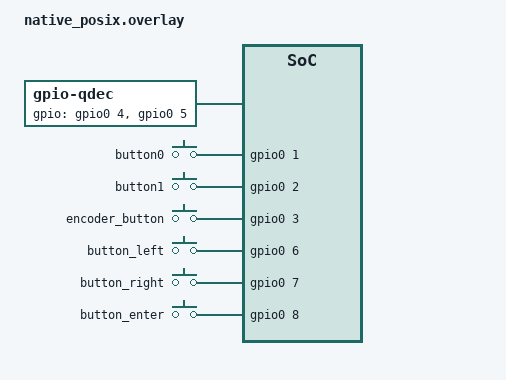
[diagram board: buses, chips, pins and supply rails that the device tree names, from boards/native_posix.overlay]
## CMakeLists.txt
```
cmake_minimum_required(VERSION 3.13.1)

set(ZEPHYR_EXTRA_MODULES /home/user/C4.3_firmware/C4.3_workspace/modules/veethree_sim "${CMAKE_SOURCE_DIR}/../../modules/bsp" "${CMAKE_SOURCE_DIR}/../../modules/nafe")


find_package(Zephyr REQUIRED HINTS $ENV{ZEPHYR_BASE})

project(app LANGUAGES C)

# SPDX-License-Identifier: Apache-2.0

cmake_minimum_required(VERSION 3.20.0)

project(uart_echo_bot)

set(MCUX_SDK_PROJECT_NAME app)

target_sources(app PRIVATE 
    src/main.c

    generated/events_init.c 
    generated/gui_guider.c 
    generated/setup_scr_screen.c 
    generated/widgets_init.c 
   
    generated/guider_fonts/lv_font_montserratMedium_10.c 
    generated/guider_fonts/lv_font_montserratMedium_16.c 
    generated/guider_fonts/lv_font_montserratMedium_25.c 
    generated/guider_fonts/lv_font_montserratMedium_22.c 
    generated/guider_fonts/lv_font_montserratMedium_50.c
    generated/images/_BACKGROUND_720x1280.c
)



target_include_directories(app PUBLIC 
    src    
    include
    generated
    generated/guider_customer_fonts   
    fatfs/source
    fatfs/source/fsl_usb_disk
)


target_compile_definitions(app PRIVATE LV_USE_GPU_NXP_VG_LITE)
target_compile_definitions(app PRIVATE SDK_OS_FREE_RTOS)
target_compile_definitions(app PRIVATE LV_LVGL_H_INCLUDE_SIMPLE)
```

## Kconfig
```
#
# Copyright (c) 2020 Linumiz
#
# SPDX-License-Identifier: Apache-2.0
#
mainmenu "Veethree sample configuration"

choice
	prompt "Hawkbit mode"
	default VE_SIM

config VE_SIM
	bool "VE_SIM"
	help
	  no help.

endchoice

source "Kconfig.zephyr"
```

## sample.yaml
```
sample:
  description: LVGL sample application
  name: lvgl
tests:
  sample.display.lvgl.gui:
    filter: dt_chosen_enabled("zephyr,display")
    # flash usage varies depending on the platform, but ~200K are the bare
    # minimum, give some room by adding 50K more. RAM usage depends largerly on
    # the display buffer, but a minimum is also required for the system itself.
    # ~25K seem to be sufficient for most cases, rounded to 32K.
    min_flash: 250
    min_ram: 32
    harness: none
    tags:
      - samples
      - display
      - gui
      - lvgl
    modules:
      - lvgl
    integration_platforms:
      - native_sim_64
  sample.display.lvgl.rk055hdmipi4m:
    # This sample is intended to test the RT1170 and RT595, which require
    # a display shield to work with LVGL
    min_flash: 250
    # The minimum RAM needed for this display is actually around 8MB,
    # but the RT595 uses external PSRAM for the display buffer
    min_ram: 32
    harness: none
    tags:
      - samples
      - display
      - gui
    modules:
      - lvgl
      - veethree_sim
    extra_args: SHIELD="rk055hdmipi4m"
    platform_allow:
      - mimxrt1170_evk/mimxrt1176/cm7
      - mimxrt595_evk/mimxrt595s/cm33
    integration_platforms:
      - mimxrt1170_evk/mimxrt1176/cm7
  sample.subsys.display.lvgl.st_b_lcd40_dsi1_mb1166:
    platform_allow: stm32h747i_disco/stm32h747xx/m7
    extra_args: SHIELD=st_b_lcd40_dsi1_mb1166
    harness: console
    harness_config:
      fixture: fixture_display
    modules:
      - lvgl
    tags:
      - samples
      - display
      - shield
      - lvgl
      - gui
```

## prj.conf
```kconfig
# Copyright (c) 2021 Nordic Semiconductor ASA
# SPDX-License-Identifier: Apache-2.0
#
# This file contains selected Kconfig options for the application.

# ========= CONSOLE ========= #

# console
CONFIG_SERIAL=y
CONFIG_UART_CONSOLE=y
CONFIG_SHELL=y
# logging
CONFIG_LOG=y
CONFIG_LOG_BUFFER_SIZE=4096
CONFIG_UART_INTERRUPT_DRIVEN=n

# ======= MEMORY ALLOC ======= #

CONFIG_MAIN_STACK_SIZE=8096
CONFIG_HEAP_MEM_POOL_SIZE=151072

# ========= ZEPHYR SYS ========= #
CONFIG_ASSERT=y
CONFIG_EVENTS=y
CONFIG_NOCACHE_MEMORY=y
CONFIG_DMA_MCUX_USE_DTCM_FOR_DMA_DESCRIPTORS=y

CONFIG_REBOOT=y

CONFIG_I2C=y
CONFIG_GPIO=y
CONFIG_DMA=y

CONFIG_DISPLAY=y

CONFIG_DYNAMIC_INTERRUPTS=y


#======= LVGL =======#
# display
CONFIG_LVGL_VEETHREE=y

CONFIG_LV_USE_LOG=y
CONFIG_LV_Z_MEM_POOL_SIZE=49152 
CONFIG_LV_Z_FLUSH_THREAD=n
CONFIG_LV_Z_FLUSH_THREAD_STACK_SIZE=8048
# FrameBuffer conf
CONFIG_LV_Z_DOUBLE_VDB=y
CONFIG_LV_Z_VDB_SIZE=50
CONFIG_LV_Z_BITS_PER_PIXEL=16
CONFIG_LV_Z_VDB_ALIGN=32
# GPU
CONFIG_VG_LITE_VEETHREE=y

CONFIG_LV_ATTRIBUTE_FAST_MEM_USE_IRAM=y
CONFIG_LV_Z_FULL_REFRESH=y
CONFIG_LV_USE_MEM_MONITOR=y 
CONFIG_LV_Z_SHELL=y
CONFIG_LV_MEM_CUSTOM=y
CONFIG_LV_USE_PERF_MONITOR=y
CONFIG_LV_USE_BTN=y
CONFIG_LV_USE_ARC=y
CONFIG_LV_USE_IMG=y
CONFIG_LV_USE_LABEL=y
CONFIG_LV_USE_DEMO_BENCHMARK=n
CONFIG_LV_USE_DEMO_WIDGETS=n
CONFIG_LV_USE_DEMO_MUSIC=n
CONFIG_LV_Z_POINTER_INPUT=n
CONFIG_LV_FONT_MONTSERRAT_12=y
CONFIG_LV_FONT_MONTSERRAT_14=y
CONFIG_LV_FONT_MONTSERRAT_16=y
# Benchmark Demo
CONFIG_LV_USE_FONT_COMPRESSED=y
CONFIG_LV_DISP_DEF_REFR_PERIOD=10
CONFIG_LV_INDEV_DEF_READ_PERIOD=10
```

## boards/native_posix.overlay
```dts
/*
 * Copyright (c) 2022, Basalte bv
 *
 * SPDX-License-Identifier: Apache-2.0
 */

#include <zephyr/dt-bindings/input/input-event-codes.h>
#include <zephyr/dt-bindings/lvgl/lvgl.h>

/ {
	aliases {
		sw0 = &button0;
	};

	qdec {
		compatible = "gpio-qdec";
		gpios = <&gpio0 4 GPIO_ACTIVE_HIGH>, <&gpio0 5 GPIO_ACTIVE_HIGH>;
		steps-per-period = <4>;
		zephyr,axis = <INPUT_REL_WHEEL>;
		sample-time-us = <2000>;
		idle-timeout-ms = <200>;
	};

	
	

	keys: keys {
		compatible = "gpio-keys";
		button0: button0 {
			/* gpio0 pin 0 is already aliased to led0 */
			gpios = <&gpio0 1 GPIO_ACTIVE_HIGH>;
			zephyr,code = <INPUT_KEY_R>;
		};

		button1: button1 {
			gpios = <&gpio0 2 GPIO_ACTIVE_HIGH>;
			zephyr,code = <INPUT_KEY_B>;
		};

		encoder_button: encoder_button {
			gpios = <&gpio0 3 GPIO_ACTIVE_HIGH>;
			zephyr,code = <INPUT_KEY_0>;
		};

		button_left: button_left {
			gpios = <&gpio0 6 GPIO_ACTIVE_HIGH>;
			zephyr,code = <INPUT_KEY_LEFT>;
		};

		button_right: button_right {
			gpios = <&gpio0 7 GPIO_ACTIVE_HIGH>;
			zephyr,code = <INPUT_KEY_RIGHT>;
		};

		button_enter: button_enter {
			gpios = <&gpio0 8 GPIO_ACTIVE_HIGH>;
			zephyr,code = <INPUT_KEY_ENTER>;
		};
	};

	lvgl_button_input {
		compatible = "zephyr,lvgl-button-input";
		input = <&keys>;
		input-codes = <INPUT_KEY_B>;
		coordinates = <160 120>;
	};

	lvgl_encoder_input {
		compatible = "zephyr,lvgl-encoder-input";
		rotation-input-code = <INPUT_REL_WHEEL>;
		button-input-code = <INPUT_KEY_0>;
	};

	lvgl_keypad_input {
		compatible = "zephyr,lvgl-keypad-input";
		input = <&keys>;
		input-codes = <INPUT_KEY_LEFT INPUT_KEY_RIGHT INPUT_KEY_ENTER>;
		lvgl-codes = <LV_KEY_LEFT LV_KEY_RIGHT LV_KEY_ENTER>;
	};
};

&gpio0 {
	ngpios = <9>;

	sdl_gpio {
		status = "okay";
		compatible = "zephyr,gpio-emul-sdl";
		/* Skip pin 0 with the unknown code 0 */
		scancodes = <0 21 5 30 31 32 80 79 40>;
	};
};
```

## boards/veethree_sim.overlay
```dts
/*
 * Copyright (c) 2022, Basalte bv
 *
 * SPDX-License-Identifier: Apache-2.0
 */

#include "native_sim.overlay"

sdl_dc: sdl_dc{
	compatible = "zephyr,sdl-dc";
	height = <240>;
	width = <320>;
	
};	
```

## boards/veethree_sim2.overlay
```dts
/*
 * Copyright (c) 2022, Basalte bv
 *
 * SPDX-License-Identifier: Apache-2.0
 */

#include "native_sim.overlay"

sdl_dc {
		compatible = "zephyr,sdl-dc";
		/*
		 * height = <240>;
		 * width = <320>;
		 */
		height = <240>;
		width = <320>;
	};	
```

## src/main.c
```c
/*
 * Copyright (c) 2016 Intel Corporation
 *
 * SPDX-License-Identifier: Apache-2.0
 */
// flash includes...

#include <stdio.h>

#include <lvgl.h>
#include <zephyr/kernel.h>
#include <zephyr/device.h>
#include <zephyr/devicetree.h>
#include <zephyr/drivers/gpio.h>
#include <zephyr/usb/usbd.h>
#include <zephyr/usb/usbh.h>
#include <zephyr/drivers/display.h>
#include <zephyr/irq.h>

#include "fsl_device_registers.h"
#include "fsl_common.h"

#include "../generated/gui_guider.h"
#include "../generated/events_init.h"


#ifdef CONFIG_VG_LITE_VEETHREE
#include "/workdir/projects/external_modules/vg_lite_veethree/include/lvgl_support.h"
#endif
#include "/workdir/modules/hal/nxp/mcux/mcux-sdk/devices/MIMXRT1166/MIMXRT1166_cm7_features.h"

#define VERSION_NUM 45

#define LOG_LEVEL CONFIG_LOG_DEFAULT_LEVEL

#include <zephyr/logging/log.h>
LOG_MODULE_REGISTER(app);

#define SW0_NODE DT_ALIAS(sw0)
static const struct gpio_dt_spec button = GPIO_DT_SPEC_GET_OR(SW0_NODE, gpios,
                                                              {0});

#define SEM_COUNT_INITAL 0
#define SEM_COUNT_MAX 1


/* change this to any other UART peripheral if desired */
#define UART_DEVICE_NODE DT_CHOSEN(zephyr_shell_uart)

static const struct device *const uart_dev = DEVICE_DT_GET(UART_DEVICE_NODE);

lv_anim_t a;
lv_ui Guider_ui;

static void anim_x_cb(void *var, int32_t v);
void lv_example_anim_2(void);
static void anim_size_cb(void *var, int32_t v);


int main(void)
{
    char buffer[100];
    uint64_t start_time, end_time = 0;
    uint32_t fps = 0;
    
   
    setup_ui(&Guider_ui);
    events_init(&Guider_ui);
    lv_example_anim_2();

    uint8_t i = 0;
    start_time = k_uptime_get();
    while (1)
    {        
        lv_task_handler();   
       
        fps++;
        end_time = k_uptime_get();
        if ((end_time - start_time) >= 1000)
        {            
            fps = 0;
            start_time = k_uptime_get();
        }        
       
        k_msleep(20);
    }

    return 0;
}

static void anim_x_cb(void *var, int32_t v)
{
    lv_obj_set_x(var, v);
}

static void anim_size_cb(void *var, int32_t v)
{
    lv_bar_set_value(Guider_ui.screen_bar_1, v, LV_ANIM_OFF);
    lv_bar_set_value(Guider_ui.screen_bar_2, v, LV_ANIM_OFF);
    lv_bar_set_value(Guider_ui.screen_bar_3, v, LV_ANIM_OFF);
    lv_bar_set_value(Guider_ui.screen_bar_4, v, LV_ANIM_OFF);

    lv_arc_set_value(Guider_ui.screen_right_btm_arc, v);
    lv_arc_set_value(Guider_ui.screen_left_top_arc, v);
    lv_arc_set_value(Guider_ui.screen_right_top_arc, v);
    lv_arc_set_value(Guider_ui.screen_left_btm_arc, v);

    lv_meter_set_indicator_value(Guider_ui.screen_meter_1, Guider_ui.screen_meter_1_scale_0_ndline_0, (v * 50));
}

/**
 * Create a playback animation
 */
void lv_example_anim_2(void)
{
    lv_anim_init(&a);
    lv_anim_set_var(&a, &Guider_ui);
    lv_anim_set_values(&a, 0, 1000);
    lv_anim_set_time(&a, 2000);
    lv_anim_set_playback_delay(&a, 100);
    lv_anim_set_playback_time(&a, 800);
    lv_anim_set_repeat_delay(&a, 900);
    lv_anim_set_repeat_count(&a, LV_ANIM_REPEAT_INFINITE);
    lv_anim_set_path_cb(&a, lv_anim_path_ease_in_out);

    lv_anim_set_exec_cb(&a, anim_size_cb);
    lv_anim_start(&a);
   
}
```

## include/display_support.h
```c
// /*
//  * Copyright 2019-2021, 2023 NXP
//  * All rights reserved.
//  *
//  * SPDX-License-Identifier: BSD-3-Clause
//  */

// #ifndef _DISPLAY_SUPPORT_H_
// #define _DISPLAY_SUPPORT_H_

// #include "fsl_dc_fb.h"

// // #include "display_support.h"
// #include "fsl_gpio.h"
// #include "fsl_mipi_dsi.h"

// #include "../video/fsl_hx8394.h"

// #include "pin_mux.h"
// #include "board.h"
// #include "fsl_debug_console.h"

// #if (DEMO_DISPLAY_CONTROLLER == DEMO_DISPLAY_CONTROLLER_LCDIFV2)
// #include "../video/fsl_dc_fb_lcdifv2.h"
// #else
// #include "fsl_dc_fb_elcdif.h"
// #endif

// /*******************************************************************************
//  * Definitions
//  ******************************************************************************/

// /* @TEST_ANCHOR */
// #define DEMO_LCDIF LCDIFV2

// #define DEMO_PANEL_WIDTH  (720)    //(720)
// #define DEMO_PANEL_HEIGHT (1280)     //(1280)

// #define DEMO_HSW 6
// #define DEMO_HFP 12
// #define DEMO_HBP 24
// #define DEMO_VSW 2
// #define DEMO_VFP 16
// #define DEMO_VBP 14

// #define DEMO_PANEL_RK055AHD091 0 /* 720 * 1280, RK055AHD091-CTG(RK055HDMIPI4M) */
// #define DEMO_PANEL_RK055IQH091 1 /* 540 * 960,  RK055IQH091-CTG */
// #define DEMO_PANEL_RK055MHD091 2 /* 720 * 1280, RK055MHD091A0-CTG(RK055HDMIPI4MA0) */

// #define DEMO_DISPLAY_CONTROLLER_ELCDIF  0
// #define DEMO_DISPLAY_CONTROLLER_LCDIFV2 1

// #ifndef DEMO_PANEL
// #define DEMO_PANEL DEMO_PANEL_RK055MHD091
// #endif

// #ifndef DEMO_DISPLAY_CONTROLLER
// /* Use LCDIFV2 by default, could use ELCDIF by changing this macro. */
// #define DEMO_DISPLAY_CONTROLLER DEMO_DISPLAY_CONTROLLER_LCDIFV2
// #endif

// #define DEMO_BUFFER_FIXED_ADDRESS 0

// #if DEMO_BUFFER_FIXED_ADDRESS
// #define DEMO_BUFFER0_ADDR 0x80000000
// #define DEMO_BUFFER1_ADDR 0x80200000
// #endif

// #define DEMO_LCDIF_POL_FLAGS                                                             \
//     (kLCDIFV2_DataEnableActiveHigh | kLCDIFV2_VsyncActiveLow | kLCDIFV2_HsyncActiveLow | \
//      kLCDIFV2_DriveDataOnFallingClkEdge)

// static dc_fb_lcdifv2_handle_t s_dcFbLcdifv2Handle = {0};

// static const dc_fb_lcdifv2_config_t s_dcFbLcdifv2Config = {
//     .lcdifv2       = DEMO_LCDIF,
//     .width         = DEMO_PANEL_WIDTH,
//     .height        = DEMO_PANEL_HEIGHT,
//     .hsw           = DEMO_HSW,
//     .hfp           = DEMO_HFP,
//     .hbp           = DEMO_HBP,
//     .vsw           = DEMO_VSW,
//     .vfp           = DEMO_VFP,
//     .vbp           = DEMO_VBP,
//     .polarityFlags = DEMO_LCDIF_POL_FLAGS,
//     .lineOrder     = kLCDIFV2_LineOrderRGB,
// /* CM4 is domain 1, CM7 is domain 0. */
// #if (__CORTEX_M <= 4)
//     .domain = 1,
// #else
//     .domain = 0,
// #endif
// };

// extern const dc_fb_t g_dc;
// // const dc_fb_t g_dc = {
// //     .ops     = &g_dcFbOpsLcdifv2,
// //     .prvData = &s_dcFbLcdifv2Handle,
// //     .config  = &s_dcFbLcdifv2Config,
// // };
// /*
//  * Use the MIPI dumb panel
//  */

// /* Definitions for the frame buffer. */
// #define DEMO_BUFFER_COUNT 2 /* 2 is enough for DPI interface display. */

// #ifndef DEMO_USE_XRGB8888
// #define DEMO_USE_XRGB8888 0
// #endif

// /* Use LCDIF LUT (or named color palette) which is 8-bit per-pixel */
// #ifndef DEMO_USE_LUT8
// #define DEMO_USE_LUT8 0
// #endif

// #if DEMO_USE_XRGB8888
// #define DEMO_BUFFER_PIXEL_FORMAT   kVIDEO_PixelFormatXRGB8888
// #define DEMO_BUFFER_BYTE_PER_PIXEL 4
// #elif DEMO_USE_LUT8
// #define DEMO_BUFFER_PIXEL_FORMAT   kVIDEO_PixelFormatLUT8
// #define DEMO_BUFFER_BYTE_PER_PIXEL 1
// #else
// #define DEMO_BUFFER_PIXEL_FORMAT   kVIDEO_PixelFormatRGB565
// #define DEMO_BUFFER_BYTE_PER_PIXEL 2
// #endif

// #if ((DEMO_PANEL_RK055AHD091 == DEMO_PANEL) || (DEMO_PANEL_RK055MHD091 == DEMO_PANEL))

// #define DEMO_PANEL_WIDTH  (720)
// #define DEMO_PANEL_HEIGHT (1280)

// #elif (DEMO_PANEL_RK055IQH091 == DEMO_PANEL)

// #define DEMO_PANEL_WIDTH  (540)
// #define DEMO_PANEL_HEIGHT (960)

// #endif

// #define DEMO_BUFFER_WIDTH  DEMO_PANEL_WIDTH
// #define DEMO_BUFFER_HEIGHT DEMO_PANEL_HEIGHT

// /* Where the frame buffer is shown in the screen. */
// #define DEMO_BUFFER_START_X 0U
// #define DEMO_BUFFER_START_Y 0U

// #define DEMO_BUFFER_STRIDE_BYTE (DEMO_BUFFER_WIDTH * DEMO_BUFFER_BYTE_PER_PIXEL)
// /* There is not frame buffer aligned requirement, consider the 64-bit AXI data
//  * bus width and 32-byte cache line size, the frame buffer alignment is set to
//  * 32 byte.
//  */
// #define FRAME_BUFFER_ALIGN 32



// /*******************************************************************************
//  * API
//  ******************************************************************************/
// #if defined(__cplusplus)
// extern "C" {
// #endif /* __cplusplus */

// status_t BOARD_PrepareDisplayController(void);

// #if defined(__cplusplus)
// }
// #endif /* __cplusplus */

// #endif /* _DISPLAY_SUPPORT_H_ */
```

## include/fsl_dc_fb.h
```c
// /*
//  * Copyright  2019 NXP
//  * All rights reserved.
//  *
//  * SPDX-License-Identifier: BSD-3-Clause
//  */

// #ifndef _FSL_DC_FB_H_
// #define _FSL_DC_FB_H_

// #include "fsl_video_common.h"

// /*!
//  * @addtogroup dc_fb
//  * @{
//  */

// /*******************************************************************************
//  * Definitions
//  ******************************************************************************/
// /*! @brief frame buffer information. */
// typedef struct _dc_fb_info
// {
//     uint16_t startX;                  /*!< The start position in the panel. */
//     uint16_t startY;                  /*!< The start position in the panel. */
//     uint16_t width;                   /*!< How many pixels in one line of the frame buffer.*/
//     uint16_t height;                  /*!< How many lines in one frame buffer. */
//     uint16_t strideBytes;             /*!< Stride of the frame buffer */
//     video_pixel_format_t pixelFormat; /*!< Pixel format of the frame buffer */
// } dc_fb_info_t;

// /*! @brief Display controller frame callback. */
// typedef void (*dc_fb_callback_t)(void *param, void *inactiveBuffer);

// /*! @brief Display controller. */
// typedef struct _dc_fb dc_fb_t;

// /*! @brief Display controller operations. */
// typedef struct _dc_fb_ops
// {
//     status_t (*init)(const dc_fb_t *dc);
//     status_t (*deinit)(const dc_fb_t *dc);
//     status_t (*enableLayer)(const dc_fb_t *dc, uint8_t layer);
//     status_t (*disableLayer)(const dc_fb_t *dc, uint8_t layer);
//     status_t (*setLayerConfig)(const dc_fb_t *dc, uint8_t layer, dc_fb_info_t *fbInfo);
//     status_t (*getLayerDefaultConfig)(const dc_fb_t *dc, uint8_t layer, dc_fb_info_t *fbInfo);
//     status_t (*setFrameBuffer)(const dc_fb_t *dc, uint8_t layer, void *frameBuffer);
//     uint32_t (*getProperty)(const dc_fb_t *dc);
//     void (*setCallback)(const dc_fb_t *dc, uint8_t layer, dc_fb_callback_t callback, void *param);
// } dc_fb_ops_t;

// /*! @brief Display controller property. */
// enum _dc_fb_property
// {
//     kDC_FB_ReserveFrameBuffer      = (1 << 0), /*< One frame buffer is always used as the DC active buffer. */
//     kDC_FB_TwoDimensionMemoryWrite = (1 << 1), /*< Support writing memory to device in two dimension way. */
// };

// /*! @brief Display controller driver handle. */
// struct _dc_fb
// {
//     const dc_fb_ops_t *ops; /* Display controller operations. */
//     void *prvData;          /* Private data for the display controller. */
//     const void *config;     /* Configuration for the display controller. */
// };

// /*******************************************************************************
//  * API
//  ******************************************************************************/

// #if defined(__cplusplus)
// extern "C" {
// #endif

// #if defined(__cplusplus)
// }
// #endif

// /*! @} */

// #endif /* _FSL_DC_FB_H_ */
```

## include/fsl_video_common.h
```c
// /*
//  * Copyright 2017, 2020-2021, 2023 NXP
//  * All rights reserved.
//  *
//  *
//  * SPDX-License-Identifier: BSD-3-Clause
//  */

// #ifndef _FSL_VIDEO_COMMON_H_
// #define _FSL_VIDEO_COMMON_H_

// #include "fsl_common.h"

// /*
//  * Change log:
//  *
//  *   1.1.0
//  *     - Add stack function which supports LIFO item management.
//  *
//  *   1.0.5
//  *     - Fix IAR Pa082 warning.
//  *
//  *   1.0.4
//  *     - Add LUT8 definition.
//  *
//  *   1.0.3
//  *     - Add RAW8 definition.
//  *
//  *   1.0.2
//  *     - Fixed MISRA-C 2012 issues.
//  *
//  *   1.0.1
//  *     - Update the VIDEO_DelayMs for bare metal.
//  *
//  *   1.0.0
//  *     - Initial version
//  */

// /*******************************************************************************
//  * Definitions
//  ******************************************************************************/

// /*! @brief Pixel format FOURCC. */
// #define FSL_VIDEO_FOURCC(a, b, c, d) \
//     ((uint32_t)(a) | ((uint32_t)(b) << 8U) | ((uint32_t)(c) << 16U) | ((uint32_t)(d) << 24U))

// /*! @brief Macro to define resolution. */
// #define FSL_VIDEO_RESOLUTION(width, height) ((uint32_t)(width) | ((uint32_t)(height) << 16U))

// #define FSL_VIDEO_EXTRACT_WIDTH(resolution)  ((uint16_t)((resolution)&0xFFFFU))
// #define FSL_VIDEO_EXTRACT_HEIGHT(resolution) ((uint16_t)((resolution) >> 16U))

// /*! @brief Pixel format definition. */
// typedef enum _video_pixel_format
// {
//     /* RAW */
//     kVIDEO_PixelFormatRAW8 = FSL_VIDEO_FOURCC('G', 'R', 'B', 'G'), /*!< RAW8, GRBG. */

//     /* LUT/palette */
//     kVIDEO_PixelFormatLUT8 = FSL_VIDEO_FOURCC('L', 'U', 'T', '8'), /*!< 8-bit Indexed Color. */

//     /* RGB */
//     kVIDEO_PixelFormatXRGB8888 = FSL_VIDEO_FOURCC('X', 'R', '2', '4'), /*!< 32-bit XRGB8888. */
//     kVIDEO_PixelFormatRGBX8888 = FSL_VIDEO_FOURCC('R', 'X', '2', '4'), /*!< 32-bit RGBX8888. */
//     kVIDEO_PixelFormatXBGR8888 = FSL_VIDEO_FOURCC('X', 'B', '2', '4'), /*!< 32-bit XBGR8888. */
//     kVIDEO_PixelFormatBGRX8888 = FSL_VIDEO_FOURCC('B', 'X', '2', '4'), /*!< 32-bit BGRX8888. */

//     kVIDEO_PixelFormatRGB888 = FSL_VIDEO_FOURCC('R', 'G', '2', '4'),   /*!< 24-bit RGB888. */
//     kVIDEO_PixelFormatBGR888 = FSL_VIDEO_FOURCC('B', 'G', '2', '4'),   /*!< 24-bit BGR888. */

//     kVIDEO_PixelFormatRGB565 = FSL_VIDEO_FOURCC('R', 'G', '1', '6'),   /*!< 16-bit RGB565. */
//     kVIDEO_PixelFormatBGR565 = FSL_VIDEO_FOURCC('B', 'G', '1', '6'),   /*!< 16-bit BGR565. */

//     kVIDEO_PixelFormatXRGB1555 = FSL_VIDEO_FOURCC('X', 'R', '1', '5'), /*!< 16-bit XRGB1555. */
//     kVIDEO_PixelFormatRGBX5551 = FSL_VIDEO_FOURCC('R', 'X', '1', '5'), /*!< 16-bit RGBX5551. */
//     kVIDEO_PixelFormatXBGR1555 = FSL_VIDEO_FOURCC('X', 'B', '1', '5'), /*!< 16-bit XBGR1555. */
//     kVIDEO_PixelFormatBGRX5551 = FSL_VIDEO_FOURCC('B', 'X', '1', '5'), /*!< 16-bit BGRX5551. */

//     kVIDEO_PixelFormatXRGB4444 = FSL_VIDEO_FOURCC('X', 'R', '1', '2'), /*!< 16-bit XRGB4444. */
//     kVIDEO_PixelFormatRGBX4444 = FSL_VIDEO_FOURCC('R', 'X', '1', '2'), /*!< 16-bit RGBX4444. */
//     kVIDEO_PixelFormatXBGR4444 = FSL_VIDEO_FOURCC('X', 'B', '1', '2'), /*!< 16-bit XBGR4444. */
//     kVIDEO_PixelFormatBGRX4444 = FSL_VIDEO_FOURCC('B', 'X', '1', '2'), /*!< 16-bit BGRX4444. */

//     /* YUV. */
//     kVIDEO_PixelFormatYUYV = FSL_VIDEO_FOURCC('Y', 'U', 'Y', 'V'), /*!< YUV422, Y-U-Y-V. */
//     kVIDEO_PixelFormatYVYU = FSL_VIDEO_FOURCC('Y', 'V', 'Y', 'U'), /*!< YUV422, Y-V-Y-U. */
//     kVIDEO_PixelFormatUYVY = FSL_VIDEO_FOURCC('U', 'Y', 'V', 'Y'), /*!< YUV422, U-Y-V-Y. */
//     kVIDEO_PixelFormatVYUY = FSL_VIDEO_FOURCC('V', 'Y', 'U', 'Y'), /*!< YUV422, V-Y-U-Y. */

//     kVIDEO_PixelFormatXYUV = FSL_VIDEO_FOURCC('X', 'Y', 'U', 'V'), /*!< YUV444, X-Y-U-V. */
//     kVIDEO_PixelFormatXYVU = FSL_VIDEO_FOURCC('X', 'Y', 'V', 'U'), /*!< YUV444, X-Y-V-U. */
// } video_pixel_format_t;

// /*! @brief Resolution definition. */
// typedef enum _video_resolution
// {
//     kVIDEO_ResolutionVGA   = FSL_VIDEO_RESOLUTION(640, 480),   /*!< VGA, 640 * 480 */
//     kVIDEO_ResolutionQVGA  = FSL_VIDEO_RESOLUTION(320, 240),   /*!< QVGA, 320 * 240 */
//     kVIDEO_ResolutionQQVGA = FSL_VIDEO_RESOLUTION(160, 120),   /*!< QQVGA, 160 * 120 */
//     kVIDEO_ResolutionCIF   = FSL_VIDEO_RESOLUTION(352, 288),   /*!< CIF, 352 * 288 */
//     kVIDEO_ResolutionQCIF  = FSL_VIDEO_RESOLUTION(176, 144),   /*!< QCIF, 176 * 144 */
//     kVIDEO_ResolutionQQCIF = FSL_VIDEO_RESOLUTION(88, 72),     /*!< QQCIF, 88 * 72 */
//     kVIDEO_Resolution720P  = FSL_VIDEO_RESOLUTION(1280, 720),  /*!< 720P, 1280 * 720 */
//     kVIDEO_Resolution1080P = FSL_VIDEO_RESOLUTION(1920, 1080), /*!< 1080P, 1920 * 1280*/
//     kVIDEO_ResolutionWXGA  = FSL_VIDEO_RESOLUTION(1280, 800),  /*!< WXGA, 1280 * 800 */
// } video_resolution_t;

// /*!
//  * @brief Ring buffer structure.
//  *
//  * There is one empty room reserved in the ring buffer, used to distinguish
//  * whether the ring buffer is full or empty. When rear equals front, it is empty;
//  * when rear+1 equals front, it is full.
//  */
// typedef struct
// {
//     volatile uint32_t rear;  /*!< Pointer to save the incoming item. */
//     volatile uint32_t front; /*!< Pointer to read out the item. */
//     void *volatile *buf;     /*!< Memory to the ring buffer. */
//     uint32_t size;           /*!< Ring buffer total size. */
// } video_ringbuf_t;

// /*!
//  * @brief Memory pool structure.
//  */
// typedef struct
// {
//     void *volatile pool;   /*!< Pointer to the pool.         */
//     volatile uint32_t cnt; /*!< Count of memory blocks in the pool. */
// } video_mempool_t;

// /*!
//  * @brief Stack structure.
//  */
// typedef struct
// {
//     void **buf;            /*!< Pointer to the memory to store the items. */
//     volatile uint32_t top; /*!< Current top stack top. */
//     uint32_t maxCount;     /*!< Maximal count of items can be stored in the stack. */
// } video_stack_t;

// /*******************************************************************************
//  * API
//  ******************************************************************************/

// #if defined(__cplusplus)
// extern "C" {
// #endif

// /*!
//  * @name Common
//  * @{
//  */

// /*!
//  * @brief Check the pixel format is YUV or not.
//  *
//  * @param format Pixel format.
//  */
// bool VIDEO_IsYUV(video_pixel_format_t format);

// /*!
//  * @brief Delay the specific time.
//  *
//  * @param ms How many milli-second to delay.
//  */
// void VIDEO_DelayMs(uint32_t ms);

// /*!
//  * @brief Get the pixel size in bits.
//  *
//  * @param pixelFormat The pixel format.
//  * @return Bits per pixel.
//  */
// uint8_t VIDEO_GetPixelSizeBits(video_pixel_format_t pixelFormat);

// /* @} */

// /*!
//  * @name Ring buffer.
//  * @{
//  */

// /*!
//  * @brief Initializes ring buffer.
//  *
//  * @param ringbuf Pointer to the ring buffer handle.
//  * @param buf Memory to save the items.
//  * @param size Size of the @p buf.
//  * @return Returns @ref kStatus_Success if initialize success, otherwise returns
//  * error code.
//  */
// status_t VIDEO_RINGBUF_Init(video_ringbuf_t *ringbuf, void **buf, uint32_t size);

// /*!
//  * @brief Get one item from the ring buffer.
//  *
//  * @param ringbuf Pointer to the ring buffer handle.
//  * @param item Memory to save the item.
//  * @return Returns @ref kStatus_Success if get success, otherwise returns
//  * error code.
//  */
// status_t VIDEO_RINGBUF_Get(video_ringbuf_t *ringbuf, void **item);

// /*!
//  * @brief Put one item to the ring buffer.
//  *
//  * @param ringbuf Pointer to the ring buffer handle.
//  * @param item The new item to save.
//  * @return Returns @ref kStatus_Success if put success, otherwise returns
//  * error code.
//  */
// status_t VIDEO_RINGBUF_Put(video_ringbuf_t *ringbuf, void *item);

// /*!
//  * @brief Get current count of items in the ring buffer.
//  *
//  * @param ringbuf Pointer to the ring buffer handle.
//  * @return Returns the item count.
//  */
// uint32_t VIDEO_RINGBUF_GetLength(video_ringbuf_t *ringbuf);

// /*!
//  * @brief Check whether the ring buffer is empty.
//  *
//  * @param ringbuf Pointer to the ring buffer handle.
//  * @return Returns true if the ring buffer is empty, otherwise returns false.
//  */
// bool VIDEO_RINGBUF_IsEmpty(video_ringbuf_t *ringbuf);

// /*!
//  * @brief Check whether the ring buffer is full.
//  *
//  * @param ringbuf Pointer to the ring buffer handle.
//  * @return Returns true if the ring buffer is full, otherwise returns false.
//  */
// bool VIDEO_RINGBUF_IsFull(video_ringbuf_t *ringbuf);
// /* @} */

// /*!
//  * @name Memory Pool
//  *
//  * User can put memory block to the pool, or get memory block from the pool.
//  * There is no count limitation to put memory block in to the pool. The memory
//  * content in the pool might be modified.
//  *
//  * The memory block should be 4-byte aligned, and the dividable by 4-byte.
//  *
//  * @{
//  */

// /*!
//  * @brief Initializes memory pool.
//  *
//  * Initializes memory pool. Initial memory blocks in the memory pool is optional.
//  * If initial blocks are used, user should specify the initial block size and count.
//  *
//  * @param mempool Pointer to the memory pool handle.
//  * @param initMem Initial memory blocks to saved in the pool.
//  * @param size Every memory block's size (bytes) in the @p initMem.
//  * @param count Number of memory blocks @p initMem.
//  * @return Returns @ref kStatus_Success if initialize success, otherwise returns
//  * error code.
//  */
// status_t VIDEO_MEMPOOL_Init(video_mempool_t *mempool, void *initMem, uint32_t size, uint32_t count);

// /*!
//  * @brief Create an empty memory pool.
//  *
//  * @param mempool Pointer to the memory pool handle.
//  */
// void VIDEO_MEMPOOL_InitEmpty(video_mempool_t *mempool);

// /*!
//  * @brief Put memory block in the pool.
//  *
//  * @param mempool Pointer to the memory pool handle.
//  * @param mem Pointer to the memory block.
//  */
// void VIDEO_MEMPOOL_Put(video_mempool_t *mempool, void *mem);

// /*!
//  * @brief Get memory block in the pool.
//  *
//  * @param mempool Pointer to the memory pool handle.
//  * @return The memory block get from pool. If the pool is empty, returns NULL.
//  */
// void *VIDEO_MEMPOOL_Get(video_mempool_t *mempool);

// /*!
//  * @brief How many memory blocks in the pool.
//  *
//  * @param mempool Pointer to the memory pool handle.
//  * @return The memory block count in the pool
//  */
// uint32_t VIDEO_MEMPOOL_GetCount(video_mempool_t *mempool);

// /* @} */

// /*!
//  * @name Stack which supports LIFO item management.
//  * @{
//  */

// /*!
//  * @brief Initializes stack.
//  *
//  * @param stack Pointer to the stack handle.
//  * @param buf Memory to save the items.
//  * @param size Size of the @p buf.
//  * @return Returns @ref kStatus_Success if initialize success, otherwise returns
//  * error code.
//  */
// status_t VIDEO_STACK_Init(video_stack_t *stack, void **buf, uint32_t size);

// /*!
//  * @brief Pop one item from the stack.
//  *
//  * @param stack Pointer to the stack handle.
//  * @param item Memory to save the item.
//  * @return Returns @ref kStatus_Success if get success, returns
//  * kStatus_Fail if the stack is empty.
//  */
// status_t VIDEO_STACK_Pop(video_stack_t *stack, void **item);

// /*!
//  * @brief Put one item to the stack.
//  *
//  * @param stack Pointer to the stack handle.
//  * @param item The new item to save.
//  * @return Returns @ref kStatus_Success if put success, returns
//  * kStatus_Fail if the stack is full.
//  */
// status_t VIDEO_STACK_Push(video_stack_t *stack, void *item);

// /*!
//  * @brief Get current count of items in the stack.
//  *
//  * @param stack Pointer to the stack handle.
//  * @return Returns the item count.
//  */
// static inline uint32_t VIDEO_STACK_GetCount(video_stack_t *stack)
// {
//     return stack->top;
// }

// /*!
//  * @brief Get maxiumal count of items in the stack.
//  *
//  * @param stack Pointer to the stack handle.
//  * @return Returns the maxiumal count of items in the stack.
//  */
// static inline uint32_t VIDEO_STACK_GetMaxCount(video_stack_t *stack)
// {
//     return stack->maxCount;
// }

// /* @} */

// #if defined(__cplusplus)
// }
// #endif

// #endif /* _FSL_VIDEO_COMMON_H_ */
```

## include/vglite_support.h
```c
// /*
//  * Copyright 2021 NXP
//  * All rights reserved.
//  *
//  * SPDX-License-Identifier: BSD-3-Clause
//  */

// #ifndef _VGLITE_SUPPORT_H_
// #define _VGLITE_SUPPORT_H_

// #include "fsl_common.h"
// #include <zephyr/kernel.h>

// #include "lvgl_support.h"
// // #include "lvgl.h"
// #if defined(SDK_OS_FREE_RTOS)
// #include "FreeRTOS.h"
// #include "semphr.h"
// #endif
// // #include "board.h"
// #include "/workdir/modules/hal/nxp/mcux/mcux-sdk/boards/evkmimxrt1160/board.h"

// #include "fsl_gpio.h"
// #include "fsl_cache.h"
// #include "display_support.h"
// // #include "fsl_debug_console.h"

// // #include "fsl_gt911.h"
// #include <zephyr/drivers/display.h>
// #if LV_USE_GPU_NXP_VG_LITE
// #include "vg_lite.h"
// #include "vglite_support.h"
// #endif

// #include "../include/vglite_support.h"

// #if LV_USE_GPU_NXP_PXP
// #include "draw/nxp/pxp/lv_draw_pxp_blend.h"
// #endif

// #if (DEMO_DISPLAY_CONTROLLER == DEMO_DISPLAY_CONTROLLER_LCDIFV2)
// // #include "fsl_lcdifv2.h"
// #else
// #include "fsl_elcdif.h"
// #endif

// /*******************************************************************************
//  * Definitions
//  ******************************************************************************/

// /*******************************************************************************
//  * API
//  ******************************************************************************/
// #if defined(__cplusplus)
// extern "C" {
// #endif                                          /* __cplusplus */

// #define VG_LITE_COMMAND_BUFFER_SIZE (256 << 10) /* 256 KB */

// /* Default tessellation window width and height, in pixels */
// #define DEFAULT_VG_LITE_TW_WIDTH  128 /* pixels */
// #define DEFAULT_VG_LITE_TW_HEIGHT 128 /* pixels */

// status_t BOARD_PrepareVGLiteController(void);

// // void DEMO_FlushDisplay(lv_disp_drv_t *disp_drv, const lv_area_t *area, lv_color_t *color_p);

// #if defined(__cplusplus)
// }
// #endif /* __cplusplus */

// #endif /* _VGLITE_SUPPORT_H_ */
```

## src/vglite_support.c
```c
// /*
//  * Copyright 2021 NXP
//  * All rights reserved.
//  *
//  * SPDX-License-Identifier: BSD-3-Clause
//  */
// #include <zephyr/kernel.h>
// #include "../include/vglite_support.h"
// #include "fsl_clock.h"
// // #include "FreeRTOS.h"
// // #include "task.h"
// #include "vg_lite.h"
// #include "vg_lite_platform.h"
// #include "display_support.h"
// /*******************************************************************************
//  * Definitions
//  ******************************************************************************/
// #define MAX_CONTIGUOUS_SIZE 0x200000
// /*******************************************************************************
//  * Prototypes
//  ******************************************************************************/

// /*******************************************************************************
//  * Variables
//  ******************************************************************************/

// static uint32_t registerMemBase = 0x41800000;
// static uint32_t gpu_mem_base    = 0x0;

// /*
//  * In case custom VGLite memory parameters are used, the application needs to
//  * allocate and publish the VGLite heap base, its size and the size of the
//  * command buffer(s) using the following global variables:
//  */
// extern void *vglite_heap_base;
// extern uint32_t vglite_heap_size;

// #if (CUSTOM_VGLITE_MEMORY_CONFIG == 0)
// /* VGLite driver heap */
// AT_NONCACHEABLE_SECTION_ALIGN(static uint8_t contiguous_mem[MAX_CONTIGUOUS_SIZE], FRAME_BUFFER_ALIGN);

// void *vglite_heap_base    __aligned(64)= &contiguous_mem;
// uint32_t vglite_heap_size __aligned(64)= MAX_CONTIGUOUS_SIZE;
// #endif /* CUSTOM_VGLITE_MEMORY_CONFIG */

// /*******************************************************************************
//  * Code
//  ******************************************************************************/
// void GPU2D_IRQHandler(void)
// {
//     vg_lite_IRQHandler();
// }

// static status_t BOARD_InitVGliteClock(void)
// {
//     const clock_root_config_t gc355ClockConfig = {
//         .clockOff = false,
//         .mux      = kCLOCK_GC355_ClockRoot_MuxVideoPllOut, /*!< 984MHz */
//         .div      = 2,
//     };

//     CLOCK_SetRootClock(kCLOCK_Root_Gc355, &gc355ClockConfig);

//     CLOCK_GetRootClockFreq(kCLOCK_Root_Gc355);

//     CLOCK_EnableClock(kCLOCK_Gpu2d);

//     irq_connect_dynamic(GPU2D_IRQn, 3, GPU2D_IRQHandler, NULL, 0);
//     irq_enable(GPU2D_IRQn);

//     return kStatus_Success;
// }

// status_t BOARD_PrepareVGLiteController(void)
// {
//     status_t status;

//     status = BOARD_InitVGliteClock();

//     if (kStatus_Success != status)
//     {
//         return status;
//     }

//     vg_lite_init_mem(registerMemBase, gpu_mem_base, vglite_heap_base, vglite_heap_size);

//     return kStatus_Success;
// }
```
